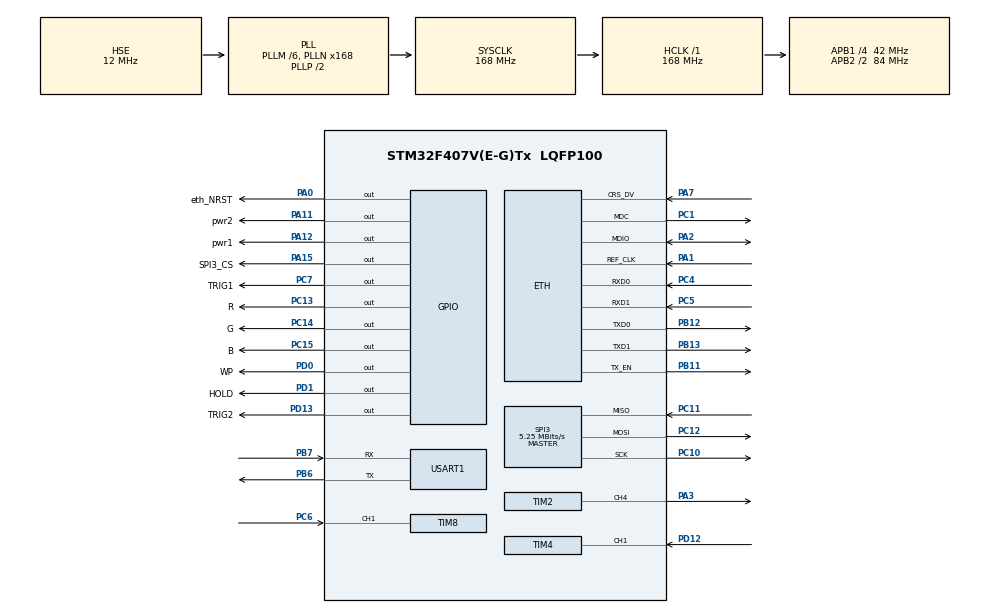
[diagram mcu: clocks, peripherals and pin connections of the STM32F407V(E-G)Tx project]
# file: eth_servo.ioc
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ETH.MACAddr=44\:84\:23\:84\:44\:76
ETH.MediaInterface=HAL_ETH_RMII_MODE
FREERTOS.BinarySemaphores01=ADC_end,Dynamic,NULL;ADC_end2,Dynamic,NULL
FREERTOS.Tasks01=MainTask,0,256,mainTask,Default,NULL,Dynamic,NULL,NULL;LED,0,128,led,Default,NULL,Dynamic,NULL,NULL;ethTas,0,512,eth_Task,Default,NULL,Dynamic,NULL,NULL;MainTask2,0,256,mainTask2,Default,NULL,Dynamic,NULL,NULL
FREERTOS.configTOTAL_HEAP_SIZE=21000
LWIP.BSP.number=1
LWIP.LWIP_DNS=1
LWIP.LWIP_NETIF_EXT_STATUS_CALLBACK=1
LWIP.LWIP_NETIF_STATUS_CALLBACK=1
LWIP.Version=v2.1.2_Cube
LWIP0.BSP.STBoard=false
LWIP0.BSP.api=BSP_COMPONENT_DRIVER
LWIP0.BSP.component=LAN8742
LWIP0.BSP.instance=LAN8742
LWIP0.BSP.name=Driver_PHY
LWIP0.BSP.semaphore=S_LAN8742
LWIP0.BSP.solution=LAN8742
Mcu.Family=STM32F4
Mcu.Name=STM32F407V(E-G)Tx
Mcu.Package=LQFP100
NVIC.ETH_IRQn=true\:5\:0\:false\:false\:true\:true\:false\:true\:true
NVIC.PriorityGroup=NVIC_PRIORITYGROUP_4
NVIC.TIM7_IRQn=true\:15\:0\:false\:false\:true\:false\:false\:true\:true
NVIC.TimeBase=TIM7_IRQn
NVIC.TimeBaseIP=TIM7
PA0-WKUP.GPIO_Label=eth_NRST
PA0-WKUP.Signal=GPIO_Output
PA1.Mode=RMII
PA1.Signal=ETH_REF_CLK
PA11.GPIO_Label=pwr2
PA11.GPIO_ModeDefaultOutputPP=GPIO_MODE_OUTPUT_PP
PA11.GPIO_PuPd=GPIO_NOPULL
PA11.Signal=GPIO_Output
PA12.GPIO_Label=pwr1
PA12.GPIO_ModeDefaultOutputPP=GPIO_MODE_OUTPUT_PP
PA12.GPIO_PuPd=GPIO_NOPULL
PA12.Signal=GPIO_Output
PA13.Mode=Serial_Wire
PA13.Signal=SYS_JTMS-SWDIO
PA14.Mode=Serial_Wire
PA14.Signal=SYS_JTCK-SWCLK
PA15.GPIO_Label=SPI3_CS
PA15.Signal=GPIO_Output
PA2.Mode=RMII
PA2.Signal=ETH_MDIO
PA3.Signal=S_TIM2_CH4
PA4.Signal=ADCx_IN4
PA7.Mode=RMII
PA7.Signal=ETH_CRS_DV
PB11.Mode=RMII
PB11.Signal=ETH_TX_EN
PB12.Mode=RMII
PB12.Signal=ETH_TXD0
PB13.Mode=RMII
PB13.Signal=ETH_TXD1
PB6.Mode=Asynchronous
PB6.Signal=USART1_TX
PB7.Mode=Asynchronous
PB7.Signal=USART1_RX
PC1.Mode=RMII
PC1.Signal=ETH_MDC
PC10.Mode=Full_Duplex_Master
PC10.Signal=SPI3_SCK
PC11.Mode=Full_Duplex_Master
PC11.Signal=SPI3_MISO
PC12.Mode=Full_Duplex_Master
PC12.Signal=SPI3_MOSI
PC13-ANTI_TAMP.GPIO_Label=R
PC13-ANTI_TAMP.Signal=GPIO_Output
PC14-OSC32_IN.GPIO_Label=G
PC14-OSC32_IN.Signal=GPIO_Output
PC15-OSC32_OUT.GPIO_Label=B
PC15-OSC32_OUT.Signal=GPIO_Output
PC4.Mode=RMII
PC4.Signal=ETH_RXD0
PC5.Mode=RMII
PC5.Signal=ETH_RXD1
PC6.Signal=S_TIM8_CH1
PC7.GPIO_Label=TRIG1
PC7.Signal=GPIO_Output
PD0.GPIO_Label=WP
PD0.Signal=GPIO_Output
PD1.GPIO_Label=HOLD
PD1.Signal=GPIO_Output
PD12.Signal=S_TIM4_CH1
PD13.GPIO_Label=TRIG2
PD13.Signal=GPIO_Output
PH0-OSC_IN.Mode=HSE-External-Oscillator
PH0-OSC_IN.Signal=RCC_OSC_IN
PH1-OSC_OUT.Mode=HSE-External-Oscillator
PH1-OSC_OUT.Signal=RCC_OSC_OUT
ProjectManager.HeapSize=0x2000
ProjectManager.StackSize=0x4000
ProjectManager.TargetToolchain=STM32CubeIDE
RCC.48MHZClocksFreq_Value=84000000
RCC.AHBFreq_Value=168000000
RCC.APB1CLKDivider=RCC_HCLK_DIV4
RCC.APB1Freq_Value=42000000
RCC.APB1TimFreq_Value=84000000
RCC.APB2CLKDivider=RCC_HCLK_DIV2
RCC.APB2Freq_Value=84000000
RCC.APB2TimFreq_Value=168000000
RCC.CortexFreq_Value=168000000
RCC.HCLKFreq_Value=168000000
RCC.HSE_VALUE=12000000
RCC.HSI_VALUE=16000000
RCC.LSE_VALUE=32768
RCC.PLLM=6
RCC.PLLN=168
RCC.PLLSourceVirtual=RCC_PLLSOURCE_HSE
RCC.SYSCLKFreq_VALUE=168000000
RCC.SYSCLKSource=RCC_SYSCLKSOURCE_PLLCLK
RCC.VCOOutputFreq_Value=336000000
SH.ADCx_IN4.0=ADC2_IN4
SH.S_TIM2_CH4.0=TIM2_CH4,PWM Generation4 CH4
SH.S_TIM4_CH1.0=TIM4_CH1,Input_Capture1_from_TI1
SH.S_TIM8_CH1.0=TIM8_CH1,Input_Capture1_from_TI1
SPI3.BaudRatePrescaler=SPI_BAUDRATEPRESCALER_8
SPI3.CalculateBaudRate=5.25 MBits/s
SPI3.Direction=SPI_DIRECTION_2LINES
SPI3.Mode=SPI_MODE_MASTER
SPI3.VirtualType=VM_MASTER
TIM2.Channel-PWM\ Generation4\ CH4=TIM_CHANNEL_4
TIM2.Period=20000
TIM2.Prescaler=84-1
TIM3.Channel-Output\ Compare1\ No\ Output=TIM_CHANNEL_1
TIM3.Period=1000
TIM3.Prescaler=80-1
TIM3.TIM_MasterOutputTrigger=TIM_TRGO_UPDATE
TIM4.Channel-Input_Capture1_from_TI1=TIM_CHANNEL_1
TIM4.Prescaler=80-1
TIM8.Channel-Input_Capture1_from_TI1=TIM_CHANNEL_1
TIM8.Prescaler=80-1
USART1.VirtualMode=VM_ASYNC
VP_FREERTOS_VS_CMSIS_V1.Mode=CMSIS_V1
VP_LWIP_VS_Enabled.Mode=Enabled
VP_SYS_VS_tim7.Mode=TIM7
VP_TIM2_VS_ClockSourceINT.Mode=Internal
VP_TIM3_VS_no_output1.Mode=Output Compare1 No Output
VP_TIM4_VS_ClockSourceINT.Mode=Internal
VP_TIM8_VS_ClockSourceINT.Mode=Internal
board=custom

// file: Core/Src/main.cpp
/* USER CODE BEGIN Header */
/**
  ******************************************************************************
  * @file           : main.c
  * @brief          : Main program body
  ******************************************************************************
  * @attention
  *
  * Copyright (c) 2022 STMicroelectronics.
  * All rights reserved.
  *
  * This software is licensed under terms that can be found in the LICENSE file
  * in the root directory of this software component.
  * If no LICENSE file comes with this software, it is provided AS-IS.
  *
  ******************************************************************************
  */
/* USER CODE END Header */
#include "main.h"
#include "cmsis_os.h"
#include "lwip.h"
#include "spi.h"
#include "tim.h"
#include "usart.h"
#include "gpio.h"

/* USER CODE BEGIN Includes */
#include "flash_spi.h"
#include "Delay_us_DWT.h"
#include "LED.h"
/* USER CODE END Includes */

/* USER CODE BEGIN PV */
settings_t settings = {115200, 0x0E};

uint32_t count_tic = 0; //для замеров времени выполнения кода
extern TIM_HandleTypeDef htim3;

led LED_IPadr;
led LED_error;
led LED_OSstart;

bool resetSettings = false;

// for SPI Flash
extern SPI_HandleTypeDef hspi3;
pins_spi_t ChipSelect = {SPI3_CS_GPIO_Port, SPI3_CS_Pin};
pins_spi_t WriteProtect = {WP_GPIO_Port, WP_Pin};
pins_spi_t Hold = {HOLD_GPIO_Port, HOLD_Pin};
flash mem_spi;

/* USER CODE END PV */

void SystemClock_Config(void);
void MX_FREERTOS_Init(void);

int main(void)
{

  /* MCU Configuration--------------------------------------------------------*/

  /* Reset of all peripherals, Initializes the Flash interface and the Systick. */
  HAL_Init();

  /* Configure the system clock */
  SystemClock_Config();

  /* Initialize all configured peripherals */
  MX_GPIO_Init();
  MX_SPI3_Init();
  MX_TIM3_Init();
  MX_TIM4_Init();
  MX_TIM8_Init();
  MX_TIM2_Init();
  MX_USART1_UART_Init();
  /* USER CODE BEGIN 2 */
  HAL_GPIO_WritePin(eth_NRST_GPIO_Port, eth_NRST_Pin, GPIO_PIN_SET);

  HAL_GPIO_WritePin(HOLD_GPIO_Port, HOLD_Pin, GPIO_PIN_SET);
  HAL_GPIO_WritePin(WP_GPIO_Port, WP_Pin, GPIO_PIN_SET);

  mem_spi.Init(&hspi3, 0, ChipSelect, WriteProtect, Hold);

  mem_spi.Read(&settings);
  if((settings.BaudRate == 0) | (settings.BaudRate == 0xFFFFFFFF) | resetSettings)
  {
	  settings.BaudRate = 115200;
	  settings.SlaveAddress = 0x02;
	  settings.MAC_end = 0x05;
	  settings.offsetMax = 0;
	  settings.offsetMin = 0;
	  settings.timeCall = 3000;
	  settings.timeCall2 = 3000;
	  mem_spi.Write(settings);
  }
  /* USER CODE END 2 */

  /* Call init function for freertos objects (in freertos.c) */
  MX_FREERTOS_Init();

  /* Start scheduler */
  osKernelStart();

  /* We should never get here as control is now taken by the scheduler */
  /* Infinite loop */
  while (1)
  {

  }
}

void SystemClock_Config(void)
{
  RCC_OscInitTypeDef RCC_OscInitStruct = {0};
  RCC_ClkInitTypeDef RCC_ClkInitStruct = {0};

  /** Configure the main internal regulator output voltage
  */
  __HAL_RCC_PWR_CLK_ENABLE();
  __HAL_PWR_VOLTAGESCALING_CONFIG(PWR_REGULATOR_VOLTAGE_SCALE1);

  /** Initializes the RCC Oscillators according to the specified parameters
  * in the RCC_OscInitTypeDef structure.
  */
  RCC_OscInitStruct.OscillatorType = RCC_OSCILLATORTYPE_HSE;
  RCC_OscInitStruct.HSEState = RCC_HSE_ON;
  RCC_OscInitStruct.PLL.PLLState = RCC_PLL_ON;
  RCC_OscInitStruct.PLL.PLLSource = RCC_PLLSOURCE_HSE;
  RCC_OscInitStruct.PLL.PLLM = 6;
  RCC_OscInitStruct.PLL.PLLN = 168;
  RCC_OscInitStruct.PLL.PLLP = RCC_PLLP_DIV2;
  RCC_OscInitStruct.PLL.PLLQ = 4;
  if (HAL_RCC_OscConfig(&RCC_OscInitStruct) != HAL_OK)
  {
    Error_Handler();
  }

  /** Initializes the CPU, AHB and APB buses clocks
  */
  RCC_ClkInitStruct.ClockType = RCC_CLOCKTYPE_HCLK|RCC_CLOCKTYPE_SYSCLK
                              |RCC_CLOCKTYPE_PCLK1|RCC_CLOCKTYPE_PCLK2;
  RCC_ClkInitStruct.SYSCLKSource = RCC_SYSCLKSOURCE_PLLCLK;
  RCC_ClkInitStruct.AHBCLKDivider = RCC_SYSCLK_DIV1;
  RCC_ClkInitStruct.APB1CLKDivider = RCC_HCLK_DIV4;
  RCC_ClkInitStruct.APB2CLKDivider = RCC_HCLK_DIV2;

  if (HAL_RCC_ClockConfig(&RCC_ClkInitStruct, FLASH_LATENCY_5) != HAL_OK)
  {
    Error_Handler();
  }
}

void HAL_TIM_PeriodElapsedCallback(TIM_HandleTypeDef *htim)
{
  if (htim->Instance == TIM7) {
    HAL_IncTick();
  }
}

void Error_Handler(void)
{
  __disable_irq();
  while (1)
  {
  }
}
